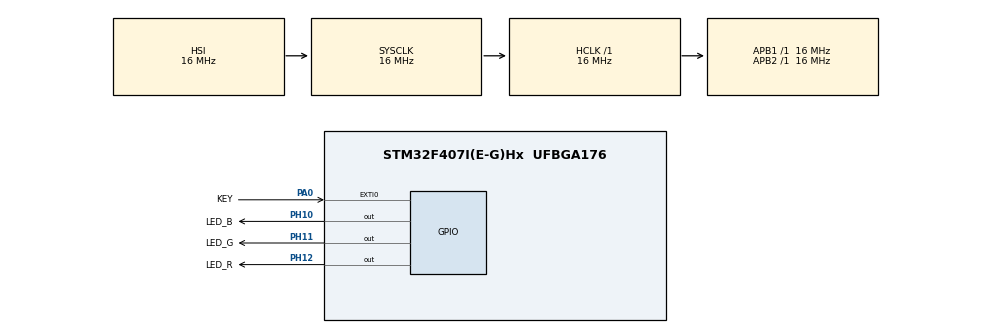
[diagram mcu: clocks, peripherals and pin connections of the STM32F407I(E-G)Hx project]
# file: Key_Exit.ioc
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Mcu.Family=STM32F4
Mcu.Name=STM32F407I(E-G)Hx
Mcu.Package=UFBGA176
NVIC.EXTI0_IRQn=true\:0\:0\:false\:false\:true\:true\:true\:true
NVIC.PriorityGroup=NVIC_PRIORITYGROUP_4
PA0-WKUP.GPIO_Label=KEY
PA0-WKUP.GPIO_PuPd=GPIO_PULLUP
PA0-WKUP.Signal=GPXTI0
PA13.Mode=Serial_Wire
PA13.Signal=SYS_JTMS-SWDIO
PA14.Mode=Serial_Wire
PA14.Signal=SYS_JTCK-SWCLK
PH0-OSC_IN.Mode=HSE-External-Oscillator
PH0-OSC_IN.Signal=RCC_OSC_IN
PH1-OSC_OUT.Mode=HSE-External-Oscillator
PH1-OSC_OUT.Signal=RCC_OSC_OUT
PH10.GPIO_Label=LED_B
PH10.GPIO_PuPd=GPIO_PULLUP
PH10.PinState=GPIO_PIN_SET
PH10.Signal=GPIO_Output
PH11.GPIO_Label=LED_G
PH11.GPIO_PuPd=GPIO_PULLUP
PH11.PinState=GPIO_PIN_SET
PH11.Signal=GPIO_Output
PH12.GPIO_Label=LED_R
PH12.GPIO_PuPd=GPIO_PULLUP
PH12.PinState=GPIO_PIN_SET
PH12.Signal=GPIO_Output
ProjectManager.HeapSize=0x200
ProjectManager.StackSize=0x400
ProjectManager.TargetToolchain=MDK-ARM V5.32
RCC.AHBFreq_Value=16000000
RCC.APB1Freq_Value=16000000
RCC.APB2Freq_Value=16000000
RCC.CortexFreq_Value=16000000
RCC.HSE_VALUE=25000000
RCC.HSI_VALUE=16000000
RCC.LSE_VALUE=32768
RCC.SYSCLKFreq_VALUE=16000000
RCC.VCOOutputFreq_Value=192000000
board=custom

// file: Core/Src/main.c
/* USER CODE BEGIN Header */
/**
  ******************************************************************************
  * @file           : main.c
  * @brief          : Main program body
  ******************************************************************************
  * @attention
  *
  * Copyright (c) 2024 STMicroelectronics.
  * All rights reserved.
  *
  * This software is licensed under terms that can be found in the LICENSE file
  * in the root directory of this software component.
  * If no LICENSE file comes with this software, it is provided AS-IS.
  *
  ******************************************************************************
  */
/* USER CODE END Header */
#include "main.h"
#include "gpio.h"

void SystemClock_Config(void);

/* USER CODE BEGIN 0 */

uint16_t rising_falling_flag = 2;
uint16_t exit_flag = 0;

void HAL_GPIO_EXTI_Callback(uint16_t GPIO_Pin)
{
  if(GPIO_Pin == KEY_Pin)
  {
    if(exit_flag == 0)
    {
      exit_flag = 1;
      rising_falling_flag = HAL_GPIO_ReadPin(KEY_GPIO_Port,KEY_Pin);
    }

  }

}
/* USER CODE END 0 */

int main(void)
{

  /* MCU Configuration--------------------------------------------------------*/

  /* Reset of all peripherals, Initializes the Flash interface and the Systick. */
  HAL_Init();

  /* Configure the system clock */
  SystemClock_Config();

  /* Initialize all configured peripherals */
  MX_GPIO_Init();
  /* USER CODE BEGIN 2 */

  //tunr off the all LED(如果只关一个的话,另外的两个会由于官方本来已经封装好的代码使三个灯都亮[用于检测],所以另外两个灯会亮)
  HAL_GPIO_WritePin(LED_G_GPIO_Port,LED_G_Pin,GPIO_PIN_RESET);
  HAL_GPIO_WritePin(LED_B_GPIO_Port,LED_B_Pin,GPIO_PIN_RESET);
  HAL_GPIO_WritePin(LED_R_GPIO_Port,LED_R_Pin,GPIO_PIN_RESET);

  /* USER CODE END 2 */

  /* Infinite loop */
  /* USER CODE BEGIN WHILE */
  while (1)
  {
    if(exit_flag == 1)//前台程序的进入
    {
	  exit_flag = 2;
      //消抖
      HAL_Delay(20);

      if(HAL_GPIO_ReadPin(KEY_GPIO_Port,KEY_Pin) == GPIO_PIN_SET)
      {//中断后高电平,说明按键未按下(KEY回弹)
        HAL_GPIO_WritePin(LED_G_GPIO_Port,LED_G_Pin,GPIO_PIN_RESET);
      }
      else if (HAL_GPIO_ReadPin(KEY_GPIO_Port,KEY_Pin) == GPIO_PIN_RESET)
      {
        HAL_GPIO_WritePin(LED_G_GPIO_Port,LED_G_Pin,GPIO_PIN_SET);
      }

      exit_flag = 0;
    }

    /* USER CODE END WHILE */

  }
}

void SystemClock_Config(void)
{
  RCC_OscInitTypeDef RCC_OscInitStruct = {0};
  RCC_ClkInitTypeDef RCC_ClkInitStruct = {0};

  /** Configure the main internal regulator output voltage
  */
  __HAL_RCC_PWR_CLK_ENABLE();
  __HAL_PWR_VOLTAGESCALING_CONFIG(PWR_REGULATOR_VOLTAGE_SCALE1);

  /** Initializes the RCC Oscillators according to the specified parameters
  * in the RCC_OscInitTypeDef structure.
  */
  RCC_OscInitStruct.OscillatorType = RCC_OSCILLATORTYPE_HSI;
  RCC_OscInitStruct.HSIState = RCC_HSI_ON;
  RCC_OscInitStruct.HSICalibrationValue = RCC_HSICALIBRATION_DEFAULT;
  RCC_OscInitStruct.PLL.PLLState = RCC_PLL_NONE;
  if (HAL_RCC_OscConfig(&RCC_OscInitStruct) != HAL_OK)
  {
    Error_Handler();
  }

  /** Initializes the CPU, AHB and APB buses clocks
  */
  RCC_ClkInitStruct.ClockType = RCC_CLOCKTYPE_HCLK|RCC_CLOCKTYPE_SYSCLK
                              |RCC_CLOCKTYPE_PCLK1|RCC_CLOCKTYPE_PCLK2;
  RCC_ClkInitStruct.SYSCLKSource = RCC_SYSCLKSOURCE_HSI;
  RCC_ClkInitStruct.AHBCLKDivider = RCC_SYSCLK_DIV1;
  RCC_ClkInitStruct.APB1CLKDivider = RCC_HCLK_DIV1;
  RCC_ClkInitStruct.APB2CLKDivider = RCC_HCLK_DIV1;

  if (HAL_RCC_ClockConfig(&RCC_ClkInitStruct, FLASH_LATENCY_0) != HAL_OK)
  {
    Error_Handler();
  }
}

void Error_Handler(void)
{
  __disable_irq();
  while (1)
  {
  }
}
